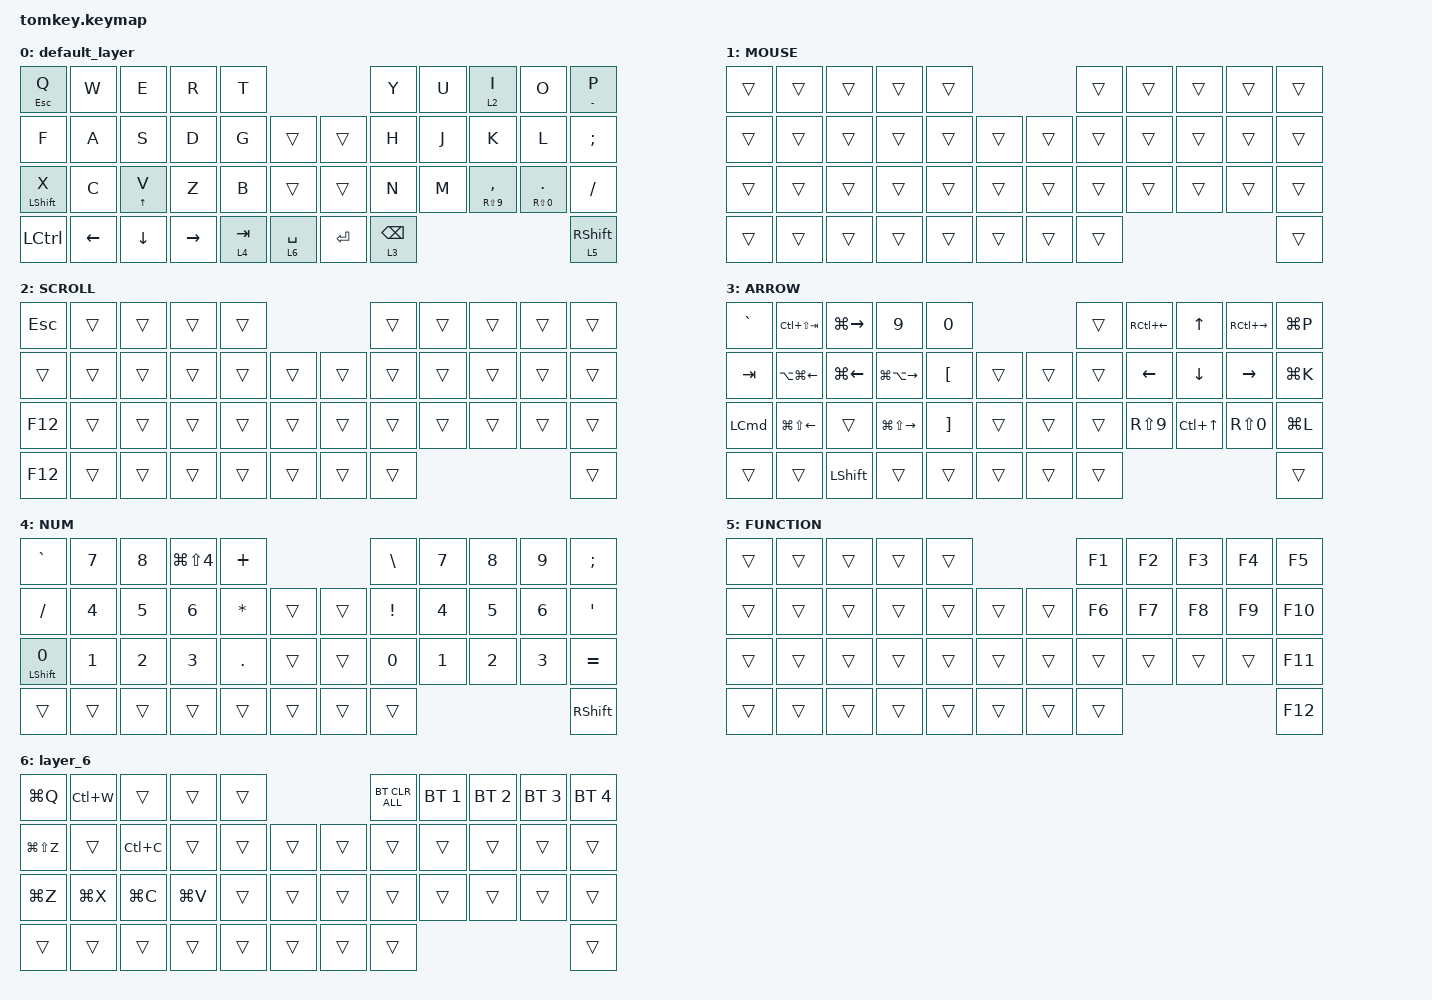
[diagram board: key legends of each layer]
#include <behaviors.dtsi>
#include <dt-bindings/zmk/bt.h>
#include <dt-bindings/zmk/keys.h>
#include <dt-bindings/zmk/pointing.h>

// OS設定を日本語キーボードのまま使用するための変換定義

#define JP_DQUOTE       AT                // "
#define JP_AMPERSAND    CARET             // &
#define JP_QUOTE        AMPERSAND         // '
#define JP_EQUAL        UNDER             // =
#define JP_CARET        EQUAL             // ^
#define JP_YEN          0x89              // ¥
#define JP_PLUS         COLON             // +
#define JP_TILDE        PLUS              // ~
#define JP_PIPE         LS(0x89)          // |
#define JP_AT           LEFT_BRACKET      // @
#define JP_COLON        SINGLE_QUOTE      // :
#define JP_ASTERISK     DOUBLE_QUOTES     // *
#define JP_BACKQUOTE    LEFT_BRACE        // `
#define JP_UNDERSCORE   LS(0x87)          // _
#define JP_LBRACKET     RIGHT_BRACKET     // [
#define JP_RBRACKET     BACKSLASH         // ]
#define JP_LPAREN       ASTERISK          // (
#define JP_RPAREN       LEFT_PARENTHESIS  // )
#define JP_LBRACE       RIGHT_BRACE       // {
#define JP_RBRACE       PIPE              // }
#define JP_KANA         LANGUAGE_1        // かな
#define JP_EISU         LANGUAGE_2        // 英数
#define JP_HANZEN       GRAVE             // 半角/全角

/ {
    combos {
        compatible = "zmk,combos";

        combo1 {
            bindings = <&mkp MB1>;
            key-positions = <18 19>;
        };

        combo2 {
            bindings = <&mkp MB2>;
            key-positions = <19 20>;
        };

        combo3 {
            bindings = <&kp LANGUAGE_1>;
            key-positions = <26 25>;
        };

        combo4 {
            bindings = <&kp LANGUAGE_2>;
            key-positions = <29 30>;
        };
    };

    keymap {
        compatible = "zmk,keymap";

        default_layer {
            bindings = <
&mt ESCAPE Q      &kp W           &kp E     &kp R      &kp T                                  &kp Y            &kp U  &lt 2 I           &kp O              &mt MINUS P
&kp F             &kp A           &kp S     &kp D      &kp G      &trans           &trans     &kp H            &kp J  &kp K             &kp L              &kp SEMI
&mt LEFT_SHIFT X  &kp C           &mt UP V  &kp Z      &kp B      &trans           &trans     &kp N            &kp M  &mt RS(N9) COMMA  &mt RS(N0) PERIOD  &kp SLASH
&kp LCTRL         &kp LEFT_ARROW  &kp DOWN  &kp RIGHT  &lt 4 TAB  &lt 6 SPACE      &kp ENTER  &lt 3 BACKSPACE                                              &lt 5 RIGHT_SHIFT
            >;
        };

        MOUSE {
            bindings = <
&trans  &trans  &trans  &trans  &trans                      &trans  &trans  &trans  &trans  &trans
&trans  &trans  &trans  &trans  &trans  &trans      &trans  &trans  &trans  &trans  &trans  &trans
&trans  &trans  &trans  &trans  &trans  &trans      &trans  &trans  &trans  &trans  &trans  &trans
&trans  &trans  &trans  &trans  &trans  &trans      &trans  &trans                          &trans
            >;
        };

        SCROLL {
            bindings = <
&kp ESCAPE  &trans  &trans  &trans  &trans                      &trans  &trans  &trans  &trans  &trans
&trans      &trans  &trans  &trans  &trans  &trans      &trans  &trans  &trans  &trans  &trans  &trans
&kp F12     &trans  &trans  &trans  &trans  &trans      &trans  &trans  &trans  &trans  &trans  &trans
&kp F12     &trans  &trans  &trans  &trans  &trans      &trans  &trans                          &trans
            >;
        };

        ARROW {
            bindings = <
&kp GRAVE  &kp LC(LS(TAB))         &kp LG(RIGHT)   &kp NUMBER_9             &kp NUMBER_0                           &trans  &kp RC(LEFT_ARROW)  &kp UP_ARROW      &kp RC(RIGHT_ARROW)  &kp LG(P)
&kp TAB    &kp LA(LG(LEFT_ARROW))  &kp LG(LEFT)    &kp LG(LA(RIGHT_ARROW))  &kp LEFT_BRACKET   &trans      &trans  &trans  &kp LEFT_ARROW      &kp DOWN_ARROW    &kp RIGHT_ARROW      &kp LG(K)
&kp LCMD   &kp LG(LS(LEFT_ARROW))  &trans          &kp LG(LS(RIGHT_ARROW))  &kp RIGHT_BRACKET  &trans      &trans  &trans  &kp RS(N9)          &kp LC(UP_ARROW)  &kp RS(N0)           &kp LG(L)
&trans     &trans                  &kp LEFT_SHIFT  &trans                   &trans             &trans      &trans  &trans                                                             &trans
            >;
        };

        NUM {
            bindings = <
&kp GRAVE                &kp NUMBER_7  &kp NUMBER_8  &kp LG(LS(NUMBER_4))  &kp PLUS                          &kp BACKSLASH    &kp NUMBER_7  &kp NUMBER_8  &kp NUMBER_9  &kp SEMICOLON
&kp SLASH                &kp NUMBER_4  &kp NUMBER_5  &kp NUMBER_6          &kp ASTERISK  &trans      &trans  &kp EXCLAMATION  &kp NUMBER_4  &kp NUMBER_5  &kp NUMBER_6  &kp SQT
&mt LEFT_SHIFT NUMBER_0  &kp NUMBER_1  &kp NUMBER_2  &kp NUMBER_3          &kp PERIOD    &trans      &trans  &kp NUMBER_0     &kp NUMBER_1  &kp NUMBER_2  &kp NUMBER_3  &kp EQUAL
&trans                   &trans        &trans        &trans                &trans        &trans      &trans  &trans                                                     &kp RIGHT_SHIFT
            >;
        };

        FUNCTION {
            bindings = <
&trans  &trans  &trans  &trans  &trans                      &kp F1  &kp F2  &kp F3  &kp F4  &kp F5
&trans  &trans  &trans  &trans  &trans  &trans      &trans  &kp F6  &kp F7  &kp F8  &kp F9  &kp F10
&trans  &trans  &trans  &trans  &trans  &trans      &trans  &trans  &trans  &trans  &trans  &kp F11
&trans  &trans  &trans  &trans  &trans  &trans      &trans  &trans                          &kp F12
            >;
        };

        layer_6 {
            bindings = <
&kp LG(Q)      &kp LC(W)  &trans     &trans     &trans                      &bt BT_CLR_ALL  &bt BT_SEL 1  &bt BT_SEL 2  &bt BT_SEL 3  &bt BT_SEL 4
&kp LG(LS(Z))  &trans     &kp LC(C)  &trans     &trans  &trans      &trans  &trans          &trans        &trans        &trans        &trans
&kp LG(Z)      &kp LG(X)  &kp LG(C)  &kp LG(V)  &trans  &trans      &trans  &trans          &trans        &trans        &trans        &trans
&trans         &trans     &trans     &trans     &trans  &trans      &trans  &trans                                                    &trans
            >;
        };
    };
};
